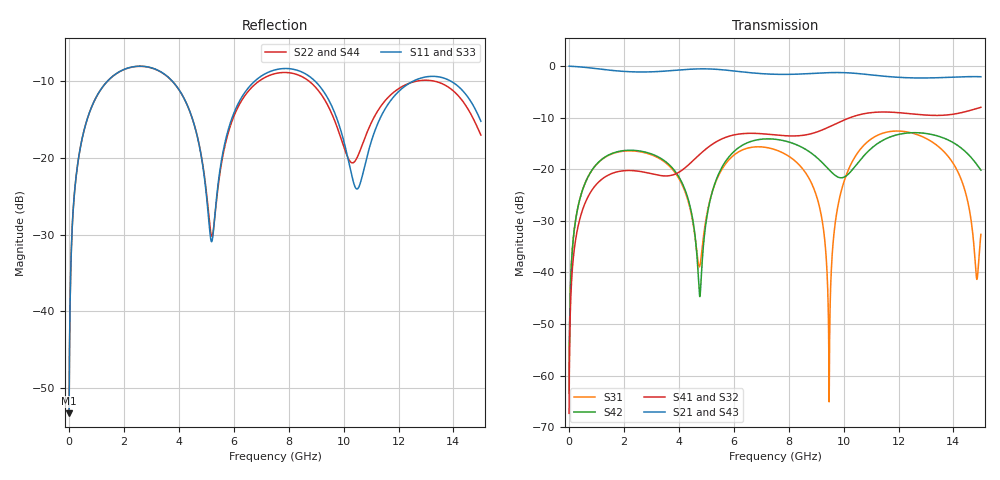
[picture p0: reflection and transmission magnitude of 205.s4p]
! Created with skrf 1.8.0 (http://scikit-rf.org).
# GHz S RI R 50.0
!freq ReS11 ImS11 ReS12 ImS12 ReS13 ImS13
! ReS14 ImS14
! ReS21 ImS21 ReS22 ImS22 ReS23 ImS23
! ReS24 ImS24
! ReS31 ImS31 ReS32 ImS32 ReS33 ImS33
! ReS34 ImS34
! ReS41 ImS41 ReS42 ImS42 ReS43 ImS43
! ReS44 ImS44
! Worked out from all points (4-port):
!   2499 points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, 5 MHz to 15 GHz, reference 50 ohm
!   strongest paths, dB at 5 MHz, 3.476 GHz, 7.19 GHz, 11.1 GHz, 15 GHz:
!     S21: 0.0, -1.0, -1.5, -1.8, -2.1
!     S43: 0.0, -1.0, -1.5, -1.8, -2.1
!     S41: -67.3, -21.3, -13.2, -9.0, -8.0
!     S32: -67.3, -21.3, -13.2, -9.0, -8.0
!     S42: -63.4, -18.4, -14.1, -15.6, -20.2
!     S31: -63.4, -18.6, -15.8, -13.8, -32.6
!   lowest |S11| = -53.3 dB at 5 MHz (marker M1), VSWR 1.00, Z = 50.2 + j0.132 ohm
!   |S11| at or under -10 dB: start of sweep to 1.403 GHz; 3.761 GHz to 6.767 GHz (3.005 GHz wide, 57.1 % of centre); 8.959 GHz to 12.54 GHz (3.577 GHz wide, 33.3 % of centre) (the widest 3 of 4)
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0.005  0.00173 0.00131  0.9982 -0.00336  8.64e-05 0.00067  -8.41e-05 -0.000422
       0.9982 -0.00336  0.00173 0.00131  -8.41e-05 -0.000422  8.65e-05 0.00067
       8.64e-05 0.00067  -8.41e-05 -0.000422  0.00173 0.00131  0.9982 -0.00336
       -8.41e-05 -0.000422  8.65e-05 0.00067  0.9982 -0.00336  0.00173 0.00131
1.720455  0.3188 0.1528  0.4361 -0.7872  0.138 0.0458  -0.0931 0.0122
          0.4361 -0.7872  0.3175 0.1541  -0.0931 0.0122  0.1413 0.0398
          0.138 0.0458  -0.0931 0.0122  0.3187 0.1528  0.4361 -0.7872
          -0.0931 0.0122  0.1413 0.0398  0.4361 -0.7872  0.3174 0.1541
4.758233  0.0543 -0.1035  -0.8842 -0.3193  -0.0114 -0.000836  -0.0431 0.1324
          -0.8842 -0.3193  0.0578 -0.1029  -0.0436 0.1322  -0.00579 -0.001
          -0.0114 -0.000836  -0.0436 0.1322  0.0531 -0.1026  -0.8844 -0.3192
          -0.0431 0.1324  -0.00579 -0.001  -0.8844 -0.3192  0.0581 -0.1014
7.972072  0.3802 -0.0319  -0.0301 0.8306  0.1306 -0.0356  0.204 -0.0529
          -0.0301 0.8306  0.3589 -0.00874  0.2041 -0.052  0.1365 -0.1247
          0.1306 -0.0356  0.2041 -0.052  0.381 -0.0303  -0.0311 0.8303
          0.204 -0.0529  0.1365 -0.1247  -0.0311 0.8303  0.3596 -0.00917
9.472697  0.1638 -0.1696  0.6388 0.5817  -0.000326 -0.000452  0.1671 -0.1955
          0.6388 0.5817  0.1698 -0.1259  0.1682 -0.1945  -0.0642 -0.0753
          -0.000326 -0.000452  0.1682 -0.1945  0.1644 -0.1697  0.6375 0.583
          0.1671 -0.1955  -0.0642 -0.0753  0.6375 0.583  0.1707 -0.1258
11.23593  0.1338 0.0981  0.7605 -0.2765  0.1548 0.147  -0.164 -0.3181
          0.7605 -0.2765  0.1738 0.1015  -0.1621 -0.3191  0.1123 0.1373
          0.1548 0.147  -0.1621 -0.3191  0.132 0.0984  0.7618 -0.2738
          -0.164 -0.3181  0.1123 0.1373  0.7618 -0.2738  0.1739 0.1002
15  0.1237 -0.121  -0.634 -0.4691  -0.0119 0.0201  -0.2299 0.3255
    -0.634 -0.4691  0.1258 -0.0632  -0.2338 0.323  -0.0781 -0.0593
    -0.0119 0.0201  -0.2338 0.323  0.1192 -0.1228  -0.6307 -0.4739
    -0.2299 0.3255  -0.0781 -0.0593  -0.6307 -0.4739  0.1313 -0.0589
